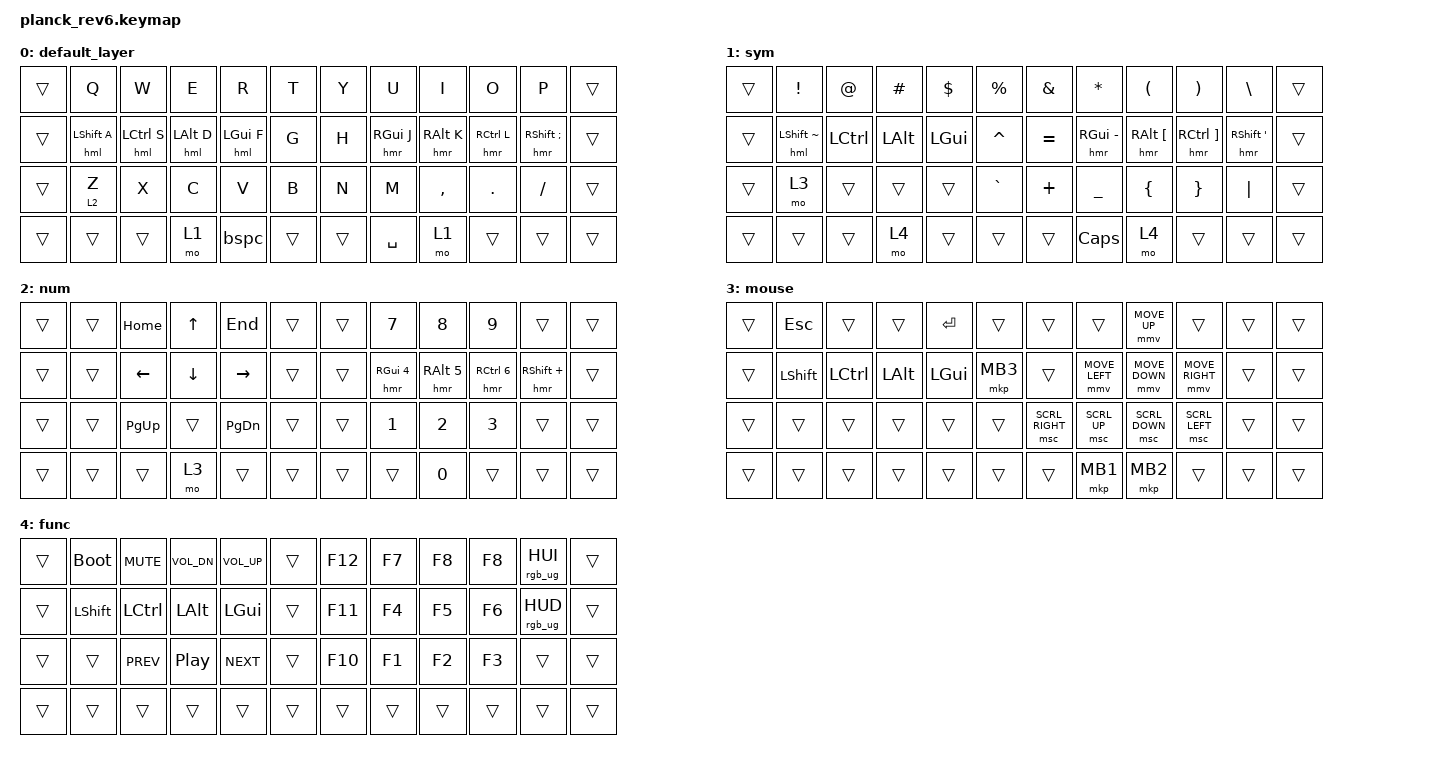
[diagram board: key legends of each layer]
/*
 * Copyright (c) 2020 The ZMK Contributors
 *
 * SPDX-License-Identifier: MIT
 */

#include <behaviors.dtsi>
#include <dt-bindings/zmk/keys.h>
#include <dt-bindings/zmk/pointing.h>
#include <dt-bindings/zmk/rgb.h>

/* Uncomment this block if using an encoder */
//&encoder {
//    status = "okay";
//};

/ {
    behaviors {
        hml: home_row_mod_left {
            compatible = "zmk,behaviors-hold-tap";
            #binding-cells = <2>;
            flavor = "balanced";
            require-prior-idle-ms = <150>;
            tapping-term-ms = <280>;
            quick-tap-ms = <150>;
            bindings = <&kp>, <&kp>;
            hold-trigger-key-positions = <0 1 2 3 4 5 12 13 14 15 16 17 24 25 26 27 28 29 36 37 38 39 40 41>;
            hold-trigger-on-release;
        };

        hmr: home_row_mod_right {
            compatible = "zmk,behaviors-hold-tap";
            #binding-cells = <2>;
            flavor = "balanced";
            require-prior-idle-ms = <150>;
            tapping-term-ms = <280>;
            quick-tap-ms = <150>;
            bindings = <&kp>, <&kp>;
            hold-trigger-key-positions = <6 7 8 9 10 11 18 19 20 21 22 23 30 31 32 33 34 35 42 43 44 45 46 47>;
            hold-trigger-on-release;
        };
    };

    keymap {
        compatible = "zmk,keymap";

        default_layer {
            bindings = <
                &trans &kp Q        &kp W        &kp E       &kp R       &kp T  &kp Y   &kp U       &kp I       &kp O        &kp P          &trans
                &trans &hml LSHFT A &hml LCTRL S &hml LALT D &hml LGUI F &kp G  &kp H   &hmr RGUI J &hmr RALT K &hmr RCTRL L &hmr RSHFT SEMI &trans
                &trans &lt 2 Z      &kp X        &kp C       &kp V       &kp B  &kp N   &kp M       &kp COMMA   &kp DOT      &kp SLASH      &trans
                &trans &trans       &trans       &mo 1       &kp bspc    &trans &trans  &kp SPACE   &mo 1       &trans       &trans         &trans
            >;
        };

        sym {
            bindings = <
                &trans &kp EXCL         &kp AT    &kp HASH &kp DLLR &kp PRCNT &kp AMPS  &kp STAR        &kp LPAR       &kp RPAR        &kp BSLH        &trans
                &trans &hml LSHFT TILDE &kp LCTRL &kp LALT &kp LGUI &kp CARET &kp EQUAL &hmr RGUI MINUS &hmr RALT LBKT &hmr RCTRL RBKT &hmr RSHFT APOS &trans
                &trans &mo 3            &trans    &trans   &trans   &kp GRAVE &kp PLUS  &kp UNDER       &kp LBRC       &kp RBRC        &kp PIPE        &trans
                &trans &trans           &trans    &mo 4    &trans   &trans    &trans    &kp CAPS        &mo 4          &trans          &trans          &trans
            >;
        };

        num {
            bindings = <
                &trans &trans &kp HOME  &kp UP   &kp END   &trans &trans &kp N7       &kp N8       &kp N9        &trans          &trans 
                &trans &trans &kp LEFT  &kp DOWN &kp RIGHT &trans &trans &hmr RGUI N4 &hmr RALT N5 &hmr RCTRL N6 &hmr RSHFT PLUS &trans 
                &trans &trans &kp PG_UP &trans   &kp PG_DN &trans &trans &kp N1       &kp N2       &kp N3        &trans          &trans 
                &trans &trans &trans    &mo 3    &trans    &trans &trans &trans       &kp N0       &trans        &trans          &trans 
            >;
        };

        mouse {
            bindings = <
                &trans &kp ESC   &trans    &trans   &kp RET  &trans   &trans          &trans         &mmv MOVE_UP   &trans          &trans &trans
                &trans &kp LSHFT &kp LCTRL &kp LALT &kp LGUI &mkp MB3 &trans          &mmv MOVE_LEFT &mmv MOVE_DOWN &mmv MOVE_RIGHT &trans &trans
                &trans &trans    &trans    &trans   &trans   &trans   &msc SCRL_RIGHT &msc SCRL_UP   &msc SCRL_DOWN &msc SCRL_LEFT  &trans &trans
                &trans &trans    &trans    &trans   &trans   &trans   &trans          &mkp MB1       &mkp MB2       &trans          &trans &trans
            >;
        };

        func {
            bindings = <
                &trans &bootloader &kp C_MUTE &kp C_VOL_DN &kp C_VOL_UP &trans &kp F12 &kp F7 &kp F8 &kp F8 &rgb_ug RGB_HUI &trans 
                &trans &kp LSHFT   &kp LCTRL  &kp LALT     &kp LGUI     &trans &kp F11 &kp F4 &kp F5 &kp F6 &rgb_ug RGB_HUD &trans 
                &trans &trans      &kp C_PREV &kp C_PP     &kp C_NEXT   &trans &kp F10 &kp F1 &kp F2 &kp F3 &trans          &trans 
                &trans &trans      &trans     &trans       &trans       &trans &trans  &trans &trans &trans &trans          &trans 
            >;
        };
    };
};
